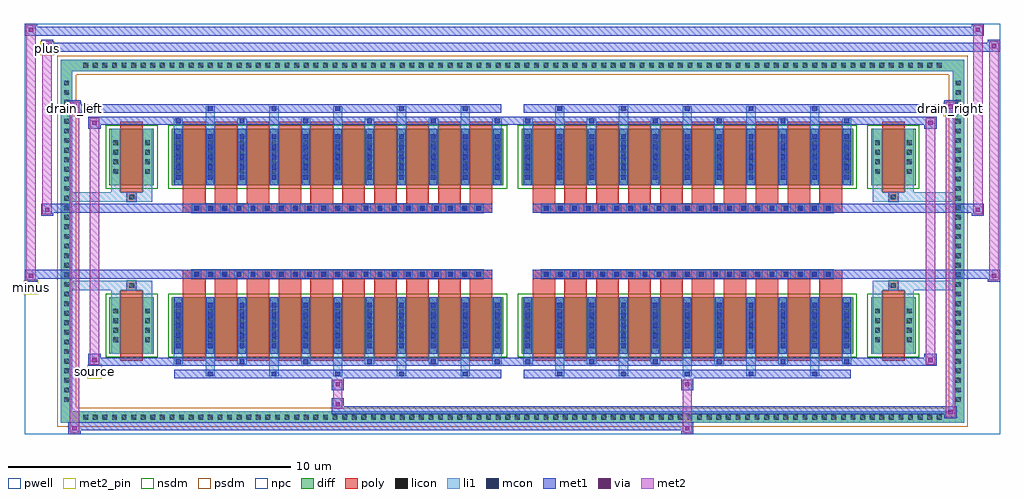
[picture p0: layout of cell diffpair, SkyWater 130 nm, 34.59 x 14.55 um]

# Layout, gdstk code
import gdstk
lib = gdstk.Library(unit=1e-6, precision=5e-09)
def R(c, l, rs):  # rectangles x0, y0, x1, y1
    for r in rs: c.add(gdstk.rectangle(r[:2], r[2:], *l))
def A(c, l, x, y, w, h, nx, ny, dx, dy):  # array of equal rectangles
    R(c, l, [(x+i*dx, y+j*dy, x+i*dx+w, y+j*dy+h) for i in range(nx) for j in range(ny)])
def P(c, l, *ps):  # polygons
    for p in ps: c.add(gdstk.Polygon(p, *l))
pwell = (64, 44)
diff = (65, 20)
poly = (66, 20)
licon = (66, 44)
li1 = (67, 20)
mcon = (67, 44)
met1 = (68, 20)
via = (68, 44)
met2_pin = (69, 16)
met2 = (69, 20)
nsdm = (93, 44)
psdm = (94, 20)
npc = (95, 20)

diffpair = lib.new_cell('diffpair')
R(diffpair, pwell, [(-17.28,-6.84,17.28,7.71), (-14.6,-5.03,-0.01,-0.805), (0.01,-5.03,14.6,-0.805), (-14.6,0.805,-0.01,5.03), (0.01,0.805,14.6,5.03)])
A(diffpair, diff, -15.335, -6.44, 0.41, 0.41, 90, 2, 0.34, 12.47)
A(diffpair, diff, -16.01, -5.815, 0.41, 0.41, 1, 34, 0, 0.34)
A(diffpair, diff, 15.6, -5.815, 0.41, 0.41, 1, 34, 0, 0.34)
R(diffpair, diff, [(-15.335,-6.44,15.335,-6.03), (-16.01,-5.815,-15.6,5.815), (15.6,-5.815,16.01,5.815), (-14.29,-3.985,-12.71,-1.985), (-12.07,-3.985,-0.32,-1.985), (0.32,-3.985,12.07,-1.985), (12.71,-3.985,14.29,-1.985), (-14.29,1.985,-12.71,3.985), (-12.07,1.985,-0.32,3.985), (0.32,1.985,12.07,3.985), (12.71,1.985,14.29,3.985), (-15.335,6.03,15.335,6.44)])
P(diffpair, diff, [(16.01,6.44),(-16.01,6.44),(-16.01,-6.03),(-15.6,-6.03),(-15.6,6.03),(15.6,6.03),(15.6,-6.03),(-15.6,-6.03),(-16.01,-6.03),(-16.01,-6.44),(16.01,-6.44)])
A(diffpair, poly, -11.68, -4.235, 0.8, 2.5, 10, 2, 1.13, 5.97)
A(diffpair, poly, 0.71, -4.235, 0.8, 2.5, 10, 2, 1.13, 5.97)
A(diffpair, poly, -11.68, -1.735, 0.8, 0.4, 10, 2, 1.13, 3.07)
A(diffpair, poly, 0.71, -1.735, 0.8, 0.4, 10, 2, 1.13, 3.07)
A(diffpair, poly, -11.36, -1.335, 0.33, 0.33, 21, 2, 0.5, 2.34)
A(diffpair, poly, 1.03, -1.335, 0.33, 0.33, 21, 2, 0.5, 2.34)
R(diffpair, poly, [(-13.9,-4.235,-13.1,-1.735), (13.1,-4.235,13.9,-1.735), (-13.665,-1.735,-13.335,-1.405), (-13.665,-1.735,-13.335,-1.405), (13.335,-1.735,13.665,-1.405), (13.335,-1.735,13.665,-1.405), (-11.68,-1.335,-0.71,-1.005), (0.71,-1.335,11.68,-1.005), (-11.68,1.005,-0.71,1.335), (0.71,1.005,11.68,1.335), (-13.665,1.405,-13.335,1.735), (-13.665,1.405,-13.335,1.735), (13.335,1.405,13.665,1.735), (13.335,1.405,13.665,1.735), (-13.9,1.735,-13.1,4.235), (13.1,1.735,13.9,4.235)])
A(diffpair, licon, -15.215, -6.32, 0.17, 0.17, 90, 2, 0.34, 12.47)
A(diffpair, licon, -15.89, -5.695, 0.17, 0.17, 1, 34, 0, 0.34)
A(diffpair, licon, 15.72, -5.695, 0.17, 0.17, 1, 34, 0, 0.34)
A(diffpair, licon, -14.15, -3.58, 0.17, 0.17, 1, 4, 0, 0.34)
A(diffpair, licon, -13.02, -3.58, 0.17, 0.17, 1, 4, 0, 0.34)
A(diffpair, licon, -11.93, -3.58, 0.17, 0.17, 11, 4, 1.13, 0.34)
A(diffpair, licon, 0.46, -3.58, 0.17, 0.17, 11, 4, 1.13, 0.34)
A(diffpair, licon, 12.85, -3.58, 0.17, 0.17, 1, 4, 0, 0.34)
A(diffpair, licon, 13.98, -3.58, 0.17, 0.17, 1, 4, 0, 0.34)
A(diffpair, licon, -11.28, -1.255, 0.17, 0.17, 21, 2, 0.5, 2.34)
A(diffpair, licon, 1.11, -1.255, 0.17, 0.17, 21, 2, 0.5, 2.34)
A(diffpair, licon, -14.15, 2.39, 0.17, 0.17, 1, 4, 0, 0.34)
A(diffpair, licon, -13.02, 2.39, 0.17, 0.17, 1, 4, 0, 0.34)
A(diffpair, licon, -11.93, 2.39, 0.17, 0.17, 11, 4, 1.13, 0.34)
A(diffpair, licon, 0.46, 2.39, 0.17, 0.17, 11, 4, 1.13, 0.34)
A(diffpair, licon, 12.85, 2.39, 0.17, 0.17, 1, 4, 0, 0.34)
A(diffpair, licon, 13.98, 2.39, 0.17, 0.17, 1, 4, 0, 0.34)
R(diffpair, licon, [(-13.585,-1.655,-13.415,-1.485), (13.415,-1.655,13.585,-1.485), (-13.585,1.485,-13.415,1.655), (13.415,1.485,13.585,1.655)])
A(diffpair, li1, -15.295, -6.4, 0.33, 0.33, 90, 2, 0.34, 12.47)
A(diffpair, li1, -15.97, -5.775, 0.33, 0.33, 1, 34, 0, 0.34)
A(diffpair, li1, 15.64, -5.775, 0.33, 0.33, 1, 34, 0, 0.34)
A(diffpair, li1, -10.88, -4.79, 0.33, 0.805, 5, 2, 2.26, 8.775)
A(diffpair, li1, -10.8, -4.79, 0.17, 0.17, 5, 2, 2.26, 9.41)
A(diffpair, li1, 1.51, -4.79, 0.33, 0.805, 5, 2, 2.26, 8.775)
A(diffpair, li1, 1.59, -4.79, 0.17, 0.17, 5, 2, 2.26, 9.41)
A(diffpair, li1, -12.01, -4.36, 0.33, 0.375, 6, 2, 2.26, 8.345)
A(diffpair, li1, -11.93, -4.36, 0.17, 0.17, 6, 2, 2.26, 8.55)
A(diffpair, li1, 0.38, -4.36, 0.33, 0.375, 6, 2, 2.26, 8.345)
A(diffpair, li1, 0.46, -4.36, 0.17, 0.17, 6, 2, 2.26, 8.55)
A(diffpair, li1, -12.01, -3.985, 0.33, 2, 11, 2, 1.13, 5.97)
A(diffpair, li1, 0.38, -3.985, 0.33, 2, 11, 2, 1.13, 5.97)
A(diffpair, li1, -11.93, -3.79, 0.17, 0.17, 11, 5, 1.13, 0.36)
A(diffpair, li1, -11.93, -3.79, 0.17, 1.61, 11, 2, 1.13, 5.97)
A(diffpair, li1, 0.46, -3.79, 0.17, 0.17, 11, 5, 1.13, 0.36)
A(diffpair, li1, 0.46, -3.79, 0.17, 1.61, 11, 2, 1.13, 5.97)
A(diffpair, li1, -14.23, -3.66, 0.33, 0.33, 1, 4, 0, 0.34)
A(diffpair, li1, -13.1, -3.66, 0.33, 0.33, 1, 4, 0, 0.34)
A(diffpair, li1, -12.01, -3.66, 0.33, 0.33, 11, 4, 1.13, 0.34)
A(diffpair, li1, 0.38, -3.66, 0.33, 0.33, 11, 4, 1.13, 0.34)
A(diffpair, li1, 12.77, -3.66, 0.33, 0.33, 1, 4, 0, 0.34)
A(diffpair, li1, 13.9, -3.66, 0.33, 0.33, 1, 4, 0, 0.34)
A(diffpair, li1, -11.36, -1.335, 0.33, 0.33, 21, 2, 0.5, 2.34)
A(diffpair, li1, 1.03, -1.335, 0.33, 0.33, 21, 2, 0.5, 2.34)
A(diffpair, li1, -11.93, 2.18, 0.17, 0.17, 11, 5, 1.13, 0.36)
A(diffpair, li1, 0.46, 2.18, 0.17, 0.17, 11, 5, 1.13, 0.36)
A(diffpair, li1, -14.23, 2.31, 0.33, 0.33, 1, 4, 0, 0.34)
A(diffpair, li1, -13.1, 2.31, 0.33, 0.33, 1, 4, 0, 0.34)
A(diffpair, li1, -12.01, 2.31, 0.33, 0.33, 11, 4, 1.13, 0.34)
A(diffpair, li1, 0.38, 2.31, 0.33, 0.33, 11, 4, 1.13, 0.34)
A(diffpair, li1, 12.77, 2.31, 0.33, 0.33, 1, 4, 0, 0.34)
A(diffpair, li1, 13.9, 2.31, 0.33, 0.33, 1, 4, 0, 0.34)
R(diffpair, li1, [(-16.01,-6.44,-15.6,-6.03), (-16.01,-6.44,-15.6,-6.03), (-15.6,-6.44,15.6,-6.03), (15.6,-6.44,16.01,-6.03), (15.6,-6.44,16.01,-6.03), (-16.01,-6.03,-15.6,6.03), (15.6,-6.03,16.01,6.03), (-14.23,-3.985,-13.9,-1.985), (-13.1,-3.985,-12.77,-1.985), (12.77,-3.985,13.1,-1.985), (13.9,-3.985,14.23,-1.985), (-14.23,-1.985,-13.9,-1.405), (-13.1,-1.985,-12.77,-1.405), (12.77,-1.985,13.1,-1.405), (13.9,-1.985,14.23,-1.405), (-16.01,-1.735,-13.665,-1.405), (-14.23,-1.735,-13.665,-1.405), (-13.665,-1.735,-13.335,-1.405), (-13.335,-1.735,-12.77,-1.405), (12.77,-1.735,13.335,-1.405), (13.335,-1.735,13.665,-1.405), (13.335,-1.735,16.01,-1.405), (13.665,-1.735,14.23,-1.405), (-16.01,1.405,-13.665,1.735), (-14.23,1.405,-13.665,1.735), (-14.23,1.405,-13.9,1.985), (-13.665,1.405,-13.335,1.735), (-13.335,1.405,-12.77,1.735), (-13.1,1.405,-12.77,1.985), (12.77,1.405,13.335,1.735), (12.77,1.405,13.1,1.985), (13.335,1.405,13.665,1.735), (13.335,1.405,16.01,1.735), (13.665,1.405,14.23,1.735), (13.9,1.405,14.23,1.985), (-14.23,1.985,-13.9,3.985), (-13.1,1.985,-12.77,3.985), (12.77,1.985,13.1,3.985), (13.9,1.985,14.23,3.985), (-16.01,6.03,-15.6,6.44), (-16.01,6.03,-15.6,6.44), (-15.6,6.03,15.6,6.44), (15.6,6.03,16.01,6.44), (15.6,6.03,16.01,6.44)])
A(diffpair, mcon, -10.8, -4.79, 0.17, 0.17, 5, 2, 2.26, 9.41)
A(diffpair, mcon, 1.59, -4.79, 0.17, 0.17, 5, 2, 2.26, 9.41)
A(diffpair, mcon, -11.93, -4.36, 0.17, 0.17, 6, 2, 2.26, 8.55)
A(diffpair, mcon, 0.46, -4.36, 0.17, 0.17, 6, 2, 2.26, 8.55)
A(diffpair, mcon, -11.93, -3.79, 0.17, 0.17, 11, 5, 1.13, 0.36)
A(diffpair, mcon, 0.46, -3.79, 0.17, 0.17, 11, 5, 1.13, 0.36)
A(diffpair, mcon, -11.28, -1.255, 0.17, 0.17, 21, 2, 0.5, 2.34)
A(diffpair, mcon, 1.11, -1.255, 0.17, 0.17, 21, 2, 0.5, 2.34)
A(diffpair, mcon, -11.93, 2.18, 0.17, 0.17, 11, 5, 1.13, 0.36)
A(diffpair, mcon, 0.46, 2.18, 0.17, 0.17, 11, 5, 1.13, 0.36)
A(diffpair, met1, -10.86, -4.85, 0.29, 0.29, 5, 2, 2.26, 9.41)
A(diffpair, met1, 1.53, -4.85, 0.29, 0.29, 5, 2, 2.26, 9.41)
A(diffpair, met1, -11.99, -4.42, 0.29, 0.29, 6, 2, 2.26, 8.55)
A(diffpair, met1, 0.4, -4.42, 0.29, 0.29, 6, 2, 2.26, 8.55)
A(diffpair, met1, -11.99, -3.985, 0.29, 2, 11, 2, 1.13, 5.97)
A(diffpair, met1, 0.4, -3.985, 0.29, 2, 11, 2, 1.13, 5.97)
A(diffpair, met1, -11.99, -3.85, 0.29, 0.29, 11, 5, 1.13, 0.36)
A(diffpair, met1, 0.4, -3.85, 0.29, 0.29, 11, 5, 1.13, 0.36)
A(diffpair, met1, -11.34, -1.315, 0.29, 0.29, 21, 2, 0.5, 2.34)
A(diffpair, met1, 1.05, -1.315, 0.29, 0.29, 21, 2, 0.5, 2.34)
A(diffpair, met1, -11.99, 2.12, 0.29, 0.29, 11, 5, 1.13, 0.36)
A(diffpair, met1, 0.4, 2.12, 0.29, 0.29, 11, 5, 1.13, 0.36)
R(diffpair, met1, [(-15.74,-6.84,-15.31,-6.41), (5.98,-6.84,6.41,-6.41), (-15.74,-6.7,6.41,-6.41), (15.31,-6.27,15.74,-5.84), (-6.41,-6.13,15.74,-5.84), (-6.41,-5.99,-5.98,-5.56), (-6.41,-5.28,-5.98,-4.85), (5.98,-5.28,6.41,-4.85), (-11.99,-4.85,-0.4,-4.56), (0.4,-4.85,11.99,-4.56), (-15.03,-4.42,-14.6,-3.99), (-15.03,-4.42,-11.99,-4.13), (-11.99,-4.42,-0.4,-4.13), (-0.4,-4.42,0.4,-4.13), (0.4,-4.42,11.99,-4.13), (11.99,-4.42,15.03,-4.13), (14.6,-4.42,15.03,-3.99), (-17.28,-1.435,-16.85,-1.005), (16.85,-1.435,17.28,-1.005), (-17.28,-1.335,-0.71,-1.005), (-11.68,-1.335,-0.71,-1.005), (0.71,-1.335,11.68,-1.005), (0.71,-1.335,17.28,-1.005), (-16.71,0.905,-16.28,1.335), (16.28,0.905,16.71,1.335), (-16.71,1.005,-11.68,1.335), (-11.68,1.005,-0.71,1.335), (0.71,1.005,11.68,1.335), (11.68,1.005,16.71,1.335), (-15.03,3.99,-14.6,4.42), (14.6,3.99,15.03,4.42), (-15.03,4.13,-11.99,4.42), (-11.99,4.13,-0.4,4.42), (-0.4,4.13,0.4,4.42), (0.4,4.13,11.99,4.42), (11.99,4.13,15.03,4.42), (-15.74,4.56,-15.31,4.99), (-15.74,4.56,-11.99,4.85), (-11.99,4.56,-0.4,4.85), (0.4,4.56,11.99,4.85), (11.99,4.56,15.74,4.85), (15.31,4.56,15.74,4.99), (-16.71,6.71,-16.28,7.14), (-16.71,6.71,-14.6,7.04), (-14.6,6.71,14.6,7.04), (14.6,6.71,17.28,7.04), (16.85,6.71,17.28,7.14), (-17.28,7.28,-16.85,7.71), (-17.28,7.28,-14.6,7.61), (-14.6,7.28,14.6,7.61), (14.6,7.28,16.71,7.61), (16.28,7.28,16.71,7.71)])
R(diffpair, via, [(-15.6,-6.7,-15.45,-6.55), (6.12,-6.7,6.27,-6.55), (15.45,-6.13,15.6,-5.98), (-6.27,-5.85,-6.12,-5.7), (-6.27,-5.14,-6.12,-4.99), (6.12,-5.14,6.27,-4.99), (-14.89,-4.28,-14.74,-4.13), (14.74,-4.28,14.89,-4.13), (-17.14,-1.295,-16.99,-1.145), (16.99,-1.295,17.14,-1.145), (-16.57,1.045,-16.42,1.195), (16.42,1.045,16.57,1.195), (-14.89,4.13,-14.74,4.28), (14.74,4.13,14.89,4.28), (-15.6,4.7,-15.45,4.85), (15.45,4.7,15.6,4.85), (-16.57,6.85,-16.42,7), (16.99,6.85,17.14,7), (-17.14,7.42,-16.99,7.57), (16.42,7.42,16.57,7.57)])
R(diffpair, met2_pin, [(-15.065,-4.87,-14.565,-4.37), (-17.315,-1.885,-16.815,-1.385), (-15.775,4.44,-15.275,4.94), (15.275,4.44,15.775,4.94), (-16.745,6.59,-16.245,7.09)])
R(diffpair, met2, [(-15.69,-6.79,-15.36,-6.46), (-15.69,-6.79,-15.36,4.94), (6.03,-6.79,6.36,-6.46), (6.03,-6.46,6.36,-5.23), (15.36,-6.22,15.69,-5.89), (15.36,-6.22,15.69,4.94), (-6.36,-5.94,-6.03,-5.61), (-6.36,-5.61,-6.03,-5.23), (-6.36,-5.23,-6.03,-4.9), (6.03,-5.23,6.36,-4.9), (-14.98,-4.37,-14.65,-4.04), (-14.98,-4.37,-14.65,4.37), (14.65,-4.37,14.98,-4.04), (14.65,-4.37,14.98,4.37), (-17.23,-1.385,-16.9,-1.055), (-17.23,-1.385,-16.9,7.66), (16.9,-1.385,17.23,-1.055), (16.9,-1.385,17.23,7.09), (-16.66,0.955,-16.33,1.285), (-16.66,0.955,-16.33,7.09), (16.33,0.955,16.66,1.285), (16.33,0.955,16.66,7.66), (-14.98,4.04,-14.65,4.37), (14.65,4.04,14.98,4.37), (-15.69,4.61,-15.36,4.94), (15.36,4.61,15.69,4.94), (-16.66,6.76,-16.33,7.09), (16.9,6.76,17.23,7.09), (-17.23,7.33,-16.9,7.66), (16.33,7.33,16.66,7.66)])
P(diffpair, met2, [(17.23,-1.385),(17.23,-1.385),(17.23,-1.055),(17.23,-1.055)],
  [(17.23,6.76),(17.23,6.76),(17.23,7.09),(17.23,7.09)],
  [(-16.9,-1.385),(-16.9,-1.385),(-16.9,-1.055),(-16.9,-1.055)],
  [(-16.9,7.33),(-16.9,7.33),(-16.9,7.66),(-16.9,7.66)],
  [(16.66,0.955),(16.66,0.955),(16.66,1.285),(16.66,1.285)],
  [(16.66,7.33),(16.66,7.33),(16.66,7.66),(16.66,7.66)],
  [(-16.33,0.955),(-16.33,0.955),(-16.33,1.285),(-16.33,1.285)],
  [(-16.33,6.76),(-16.33,6.76),(-16.33,7.09),(-16.33,7.09)],
  [(-15.36,-6.79),(-15.36,-6.79),(-15.36,-6.46),(-15.36,-6.46)],
  [(-15.36,4.61),(-15.36,4.61),(-15.36,4.94),(-15.36,4.94)],
  [(15.69,-6.22),(15.69,-6.22),(15.69,-5.89),(15.69,-5.89)],
  [(15.69,4.61),(15.69,4.61),(15.69,4.94),(15.69,4.94)],
  [(-14.65,-4.37),(-14.65,-4.37),(-14.65,-4.04),(-14.65,-4.04)],
  [(-14.65,4.04),(-14.65,4.04),(-14.65,4.37),(-14.65,4.37)],
  [(14.98,-4.37),(14.98,-4.37),(14.98,-4.04),(14.98,-4.04)],
  [(14.98,4.04),(14.98,4.04),(14.98,4.37),(14.98,4.37)])
R(diffpair, nsdm, [(-14.42,-4.115,-12.58,-1.855), (-12.2,-4.115,-0.19,-1.855), (0.19,-4.115,12.2,-1.855), (12.58,-4.115,14.42,-1.855), (-14.42,1.855,-12.58,4.115), (-12.2,1.855,-0.19,4.115), (0.19,1.855,12.2,4.115), (12.58,1.855,14.42,4.115)])
P(diffpair, psdm, [(16.14,6.57),(-16.14,6.57),(-16.14,-5.9),(-15.47,-5.9),(-15.47,5.9),(15.47,5.9),(15.47,-5.9),(-15.47,-5.9),(-16.14,-5.9),(-16.14,-6.57),(16.14,-6.57)])
A(diffpair, npc, -11.38, -1.355, 0.37, 0.37, 21, 2, 0.5, 2.34)
A(diffpair, npc, 1.01, -1.355, 0.37, 0.37, 21, 2, 0.5, 2.34)
R(diffpair, npc, [(-13.685,-1.755,-13.315,-1.385), (13.315,-1.755,13.685,-1.385), (-11.38,-1.355,-10.51,-0.985), (-11.38,-1.355,-10.51,-0.985), (-10.88,-1.355,-10.01,-0.985), (-10.88,-1.355,-10.01,-0.985), (-10.38,-1.355,-9.51,-0.985), (-10.38,-1.355,-9.51,-0.985), (-9.88,-1.355,-9.01,-0.985), (-9.88,-1.355,-9.01,-0.985), (-9.38,-1.355,-8.51,-0.985), (-9.38,-1.355,-8.51,-0.985), (-8.88,-1.355,-8.01,-0.985), (-8.88,-1.355,-8.01,-0.985), (-8.38,-1.355,-7.51,-0.985), (-8.38,-1.355,-7.51,-0.985), (-7.88,-1.355,-7.01,-0.985), (-7.88,-1.355,-7.01,-0.985), (-7.38,-1.355,-6.51,-0.985), (-7.38,-1.355,-6.51,-0.985), (-6.88,-1.355,-6.01,-0.985), (-6.88,-1.355,-6.01,-0.985), (-6.38,-1.355,-5.51,-0.985), (-6.38,-1.355,-5.51,-0.985), (-5.88,-1.355,-5.01,-0.985), (-5.88,-1.355,-5.01,-0.985), (-5.38,-1.355,-4.51,-0.985), (-5.38,-1.355,-4.51,-0.985), (-4.88,-1.355,-4.01,-0.985), (-4.88,-1.355,-4.01,-0.985), (-4.38,-1.355,-3.51,-0.985), (-4.38,-1.355,-3.51,-0.985), (-3.88,-1.355,-3.01,-0.985), (-3.88,-1.355,-3.01,-0.985), (-3.38,-1.355,-2.51,-0.985), (-3.38,-1.355,-2.51,-0.985), (-2.88,-1.355,-2.01,-0.985), (-2.88,-1.355,-2.01,-0.985), (-2.38,-1.355,-1.51,-0.985), (-2.38,-1.355,-1.51,-0.985), (-1.88,-1.355,-1.01,-0.985), (-1.88,-1.355,-1.01,-0.985), (1.01,-1.355,1.88,-0.985), (1.01,-1.355,1.88,-0.985), (1.51,-1.355,2.38,-0.985), (1.51,-1.355,2.38,-0.985), (2.01,-1.355,2.88,-0.985), (2.01,-1.355,2.88,-0.985), (2.51,-1.355,3.38,-0.985), (2.51,-1.355,3.38,-0.985), (3.01,-1.355,3.88,-0.985), (3.01,-1.355,3.88,-0.985), (3.51,-1.355,4.38,-0.985), (3.51,-1.355,4.38,-0.985), (4.01,-1.355,4.88,-0.985), (4.01,-1.355,4.88,-0.985), (4.51,-1.355,5.38,-0.985), (4.51,-1.355,5.38,-0.985), (5.01,-1.355,5.88,-0.985), (5.01,-1.355,5.88,-0.985), (5.51,-1.355,6.38,-0.985), (5.51,-1.355,6.38,-0.985), (6.01,-1.355,6.88,-0.985), (6.01,-1.355,6.88,-0.985), (6.51,-1.355,7.38,-0.985), (6.51,-1.355,7.38,-0.985), (7.01,-1.355,7.88,-0.985), (7.01,-1.355,7.88,-0.985), (7.51,-1.355,8.38,-0.985), (7.51,-1.355,8.38,-0.985), (8.01,-1.355,8.88,-0.985), (8.01,-1.355,8.88,-0.985), (8.51,-1.355,9.38,-0.985), (8.51,-1.355,9.38,-0.985), (9.01,-1.355,9.88,-0.985), (9.01,-1.355,9.88,-0.985), (9.51,-1.355,10.38,-0.985), (9.51,-1.355,10.38,-0.985), (10.01,-1.355,10.88,-0.985), (10.01,-1.355,10.88,-0.985), (10.51,-1.355,11.38,-0.985), (10.51,-1.355,11.38,-0.985), (-11.38,0.985,-10.51,1.355), (-11.38,0.985,-10.51,1.355), (-10.88,0.985,-10.01,1.355), (-10.88,0.985,-10.01,1.355), (-10.38,0.985,-9.51,1.355), (-10.38,0.985,-9.51,1.355), (-9.88,0.985,-9.01,1.355), (-9.88,0.985,-9.01,1.355), (-9.38,0.985,-8.51,1.355), (-9.38,0.985,-8.51,1.355), (-8.88,0.985,-8.01,1.355), (-8.88,0.985,-8.01,1.355), (-8.38,0.985,-7.51,1.355), (-8.38,0.985,-7.51,1.355), (-7.88,0.985,-7.01,1.355), (-7.88,0.985,-7.01,1.355), (-7.38,0.985,-6.51,1.355), (-7.38,0.985,-6.51,1.355), (-6.88,0.985,-6.01,1.355), (-6.88,0.985,-6.01,1.355), (-6.38,0.985,-5.51,1.355), (-6.38,0.985,-5.51,1.355), (-5.88,0.985,-5.01,1.355), (-5.88,0.985,-5.01,1.355), (-5.38,0.985,-4.51,1.355), (-5.38,0.985,-4.51,1.355), (-4.88,0.985,-4.01,1.355), (-4.88,0.985,-4.01,1.355), (-4.38,0.985,-3.51,1.355), (-4.38,0.985,-3.51,1.355), (-3.88,0.985,-3.01,1.355), (-3.88,0.985,-3.01,1.355), (-3.38,0.985,-2.51,1.355), (-3.38,0.985,-2.51,1.355), (-2.88,0.985,-2.01,1.355), (-2.88,0.985,-2.01,1.355), (-2.38,0.985,-1.51,1.355), (-2.38,0.985,-1.51,1.355), (-1.88,0.985,-1.01,1.355), (-1.88,0.985,-1.01,1.355), (1.01,0.985,1.88,1.355), (1.01,0.985,1.88,1.355), (1.51,0.985,2.38,1.355), (1.51,0.985,2.38,1.355), (2.01,0.985,2.88,1.355), (2.01,0.985,2.88,1.355), (2.51,0.985,3.38,1.355), (2.51,0.985,3.38,1.355), (3.01,0.985,3.88,1.355), (3.01,0.985,3.88,1.355), (3.51,0.985,4.38,1.355), (3.51,0.985,4.38,1.355), (4.01,0.985,4.88,1.355), (4.01,0.985,4.88,1.355), (4.51,0.985,5.38,1.355), (4.51,0.985,5.38,1.355), (5.01,0.985,5.88,1.355), (5.01,0.985,5.88,1.355), (5.51,0.985,6.38,1.355), (5.51,0.985,6.38,1.355), (6.01,0.985,6.88,1.355), (6.01,0.985,6.88,1.355), (6.51,0.985,7.38,1.355), (6.51,0.985,7.38,1.355), (7.01,0.985,7.88,1.355), (7.01,0.985,7.88,1.355), (7.51,0.985,8.38,1.355), (7.51,0.985,8.38,1.355), (8.01,0.985,8.88,1.355), (8.01,0.985,8.88,1.355), (8.51,0.985,9.38,1.355), (8.51,0.985,9.38,1.355), (9.01,0.985,9.88,1.355), (9.01,0.985,9.88,1.355), (9.51,0.985,10.38,1.355), (9.51,0.985,10.38,1.355), (10.01,0.985,10.88,1.355), (10.01,0.985,10.88,1.355), (10.51,0.985,11.38,1.355), (10.51,0.985,11.38,1.355), (-13.685,1.385,-13.315,1.755), (13.315,1.385,13.685,1.755)])
diffpair.add(gdstk.Label('minus', (-17.065,-1.635), layer=69, texttype=5))
diffpair.add(gdstk.Label('drain_right', (15.525,4.69), layer=69, texttype=5))
diffpair.add(gdstk.Label('drain_left', (-15.525,4.69), layer=69, texttype=5))
diffpair.add(gdstk.Label('source', (-14.815,-4.62), layer=69, texttype=5))
diffpair.add(gdstk.Label('plus', (-16.495,6.84), layer=69, texttype=5))

lib.write_gds('diffpair.gds')
